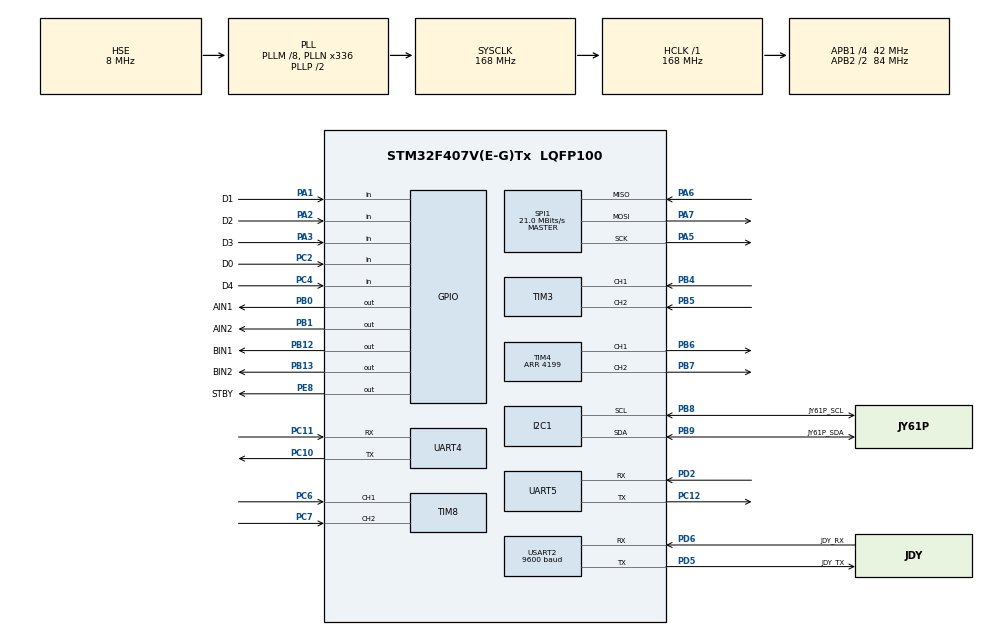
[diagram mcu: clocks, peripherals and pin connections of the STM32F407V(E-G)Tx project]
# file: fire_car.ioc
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FREERTOS.Tasks01=defaultTask,24,256,StartDefaultTask,Default,NULL,Dynamic,NULL,NULL
FREERTOS.configENABLE_FPU=1
FREERTOS.configMINIMAL_STACK_SIZE=256
Mcu.Family=STM32F4
Mcu.Name=STM32F407V(E-G)Tx
Mcu.Package=LQFP100
NVIC.PriorityGroup=NVIC_PRIORITYGROUP_4
NVIC.TIM6_DAC_IRQn=true\:15\:0\:false\:false\:true\:false\:false\:true\:true
NVIC.TimeBase=TIM6_DAC_IRQn
NVIC.TimeBaseIP=TIM6
NVIC.USART2_IRQn=true\:5\:0\:false\:false\:true\:true\:true\:true\:true
PA1.GPIO_Label=D1
PA1.GPIO_PuPd=GPIO_PULLDOWN
PA1.Signal=GPIO_Input
PA13.Mode=Serial_Wire
PA13.Signal=SYS_JTMS-SWDIO
PA14.Mode=Serial_Wire
PA14.Signal=SYS_JTCK-SWCLK
PA2.GPIO_Label=D2
PA2.GPIO_PuPd=GPIO_PULLDOWN
PA2.Signal=GPIO_Input
PA3.GPIO_Label=D3
PA3.GPIO_PuPd=GPIO_PULLDOWN
PA3.Signal=GPIO_Input
PA4.Signal=SPI1_NSS
PA5.Mode=Full_Duplex_Master
PA5.Signal=SPI1_SCK
PA6.Mode=Full_Duplex_Master
PA6.Signal=SPI1_MISO
PA7.Mode=Full_Duplex_Master
PA7.Signal=SPI1_MOSI
PB0.GPIO_Label=AIN1
PB0.Signal=GPIO_Output
PB1.GPIO_Label=AIN2
PB1.Signal=GPIO_Output
PB12.GPIO_Label=BIN1
PB12.Signal=GPIO_Output
PB13.GPIO_Label=BIN2
PB13.Signal=GPIO_Output
PB4.Signal=S_TIM3_CH1
PB5.Signal=S_TIM3_CH2
PB6.Signal=S_TIM4_CH1
PB7.Signal=S_TIM4_CH2
PB8.GPIO_Label=JY61P_SCL
PB8.Mode=I2C
PB8.Signal=I2C1_SCL
PB9.GPIO_Label=JY61P_SDA
PB9.Mode=I2C
PB9.Signal=I2C1_SDA
PC10.Mode=Asynchronous
PC10.Signal=UART4_TX
PC11.Mode=Asynchronous
PC11.Signal=UART4_RX
PC12.Mode=Asynchronous
PC12.Signal=UART5_TX
PC2.GPIO_Label=D0
PC2.GPIO_PuPd=GPIO_PULLDOWN
PC2.Signal=GPIO_Input
PC4.GPIO_Label=D4
PC4.GPIO_PuPd=GPIO_PULLDOWN
PC4.Signal=GPIO_Input
PC6.Signal=S_TIM8_CH1
PC7.Signal=S_TIM8_CH2
PD2.Mode=Asynchronous
PD2.Signal=UART5_RX
PD5.GPIO_Label=JDY_TX
PD5.Mode=Asynchronous
PD5.Signal=USART2_TX
PD6.GPIO_Label=JDY_RX
PD6.Mode=Asynchronous
PD6.Signal=USART2_RX
PE8.GPIO_Label=STBY
PE8.Signal=GPIO_Output
PH0-OSC_IN.Mode=HSE-External-Oscillator
PH0-OSC_IN.Signal=RCC_OSC_IN
PH1-OSC_OUT.Mode=HSE-External-Oscillator
PH1-OSC_OUT.Signal=RCC_OSC_OUT
ProjectManager.HeapSize=0x200
ProjectManager.StackSize=0x400
ProjectManager.TargetToolchain=MDK-ARM V5.32
RCC.48MHZClocksFreq_Value=84000000
RCC.AHBFreq_Value=168000000
RCC.APB1CLKDivider=RCC_HCLK_DIV4
RCC.APB1Freq_Value=42000000
RCC.APB1TimFreq_Value=84000000
RCC.APB2CLKDivider=RCC_HCLK_DIV2
RCC.APB2Freq_Value=84000000
RCC.APB2TimFreq_Value=168000000
RCC.CortexFreq_Value=168000000
RCC.HCLKFreq_Value=168000000
RCC.HSE_VALUE=8000000
RCC.HSI_VALUE=16000000
RCC.LSE_VALUE=32768
RCC.PLLM=8
RCC.PLLN=336
RCC.PLLSourceVirtual=RCC_PLLSOURCE_HSE
RCC.SYSCLKFreq_VALUE=168000000
RCC.SYSCLKSource=RCC_SYSCLKSOURCE_PLLCLK
RCC.VCOOutputFreq_Value=336000000
SH.S_TIM3_CH1.0=TIM3_CH1,Encoder_Interface
SH.S_TIM3_CH2.0=TIM3_CH2,Encoder_Interface
SH.S_TIM4_CH1.0=TIM4_CH1,PWM Generation1 CH1
SH.S_TIM4_CH2.0=TIM4_CH2,PWM Generation2 CH2
SH.S_TIM8_CH1.0=TIM8_CH1,Encoder_Interface
SH.S_TIM8_CH2.0=TIM8_CH2,Encoder_Interface
SPI1.BaudRatePrescaler=SPI_BAUDRATEPRESCALER_4
SPI1.CalculateBaudRate=21.0 MBits/s
SPI1.Direction=SPI_DIRECTION_2LINES
SPI1.Mode=SPI_MODE_MASTER
SPI1.VirtualType=VM_MASTER
TIM10.Period=19
TIM10.Prescaler=16799
TIM3.EncoderMode=TIM_ENCODERMODE_TI12
TIM3.IC1Filter=6
TIM3.IC2Filter=6
TIM4.AutoReloadPreload=TIM_AUTORELOAD_PRELOAD_ENABLE
TIM4.Channel-PWM\ Generation1\ CH1=TIM_CHANNEL_1
TIM4.Channel-PWM\ Generation2\ CH2=TIM_CHANNEL_2
TIM4.Period=4199
TIM8.EncoderMode=TIM_ENCODERMODE_TI12
TIM8.IC1Filter=6
TIM8.IC2Filter=6
UART4.VirtualMode=Asynchronous
UART5.VirtualMode=Asynchronous
USART2.BaudRate=9600
USART2.VirtualMode=VM_ASYNC
VP_FREERTOS_VS_CMSIS_V2.Mode=CMSIS_V2
VP_SYS_VS_tim6.Mode=TIM6
VP_TIM10_VS_ClockSourceINT.Mode=Enable_Timer
VP_TIM4_VS_ClockSourceINT.Mode=Internal
board=custom

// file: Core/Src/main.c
/* USER CODE BEGIN Header */
/**
  ******************************************************************************
  * @file           : main.c
  * @brief          : Main program body
  ******************************************************************************
  * @attention
  *
  * Copyright (c) 2026 STMicroelectronics.
  * All rights reserved.
  *
  * This software is licensed under terms that can be found in the LICENSE file
  * in the root directory of this software component.
  * If no LICENSE file comes with this software, it is provided AS-IS.
  *
  ******************************************************************************
  */
/* USER CODE END Header */
#include "main.h"
#include "cmsis_os.h"
#include "i2c.h"
#include "spi.h"
#include "tim.h"
#include "usart.h"
#include "gpio.h"

/* USER CODE BEGIN Includes */
#include "../../hardware/BLE.h"
#include "../../hardware/ESP01S.h"
#include "../../hardware/LU9685.h"
#include "../../hardware/motor.h"
#include "../../hardware/NVIC.h"

/* USER CODE END Includes */

/* USER CODE BEGIN PV */
volatile float g_left_motor_speed_mps = 0.0f;
volatile float g_right_motor_speed_mps = 0.0f;

/* USER CODE END PV */

void SystemClock_Config(void);
void MX_FREERTOS_Init(void);

int main(void)
{

  /* MCU Configuration--------------------------------------------------------*/

  /* Reset of all peripherals, Initializes the Flash interface and the Systick. */
  HAL_Init();

  /* Configure the system clock */
  SystemClock_Config();

  /* Initialize all configured peripherals */
  MX_GPIO_Init();
  MX_TIM3_Init();
  MX_TIM4_Init();
  MX_USART2_UART_Init();
  MX_TIM10_Init();
  MX_TIM8_Init();
  MX_I2C1_Init();
  MX_SPI1_Init();
  MX_UART4_Init();
  MX_UART5_Init();
  /* USER CODE BEGIN 2 */
  Hardware_NVIC_InitPeripheralIRQs();
  Motor_Init();
  BLE_Init();
  ESP01S_Init();
  LU9685_Init();

  /* USER CODE END 2 */

  /* Init scheduler */
  osKernelInitialize();  /* Call init function for freertos objects (in cmsis_os2.c) */
  MX_FREERTOS_Init();

  /* Start scheduler */
  osKernelStart();

  /* We should never get here as control is now taken by the scheduler */

  /* Infinite loop */
  while (1)
  {

  }
}

void SystemClock_Config(void)
{
  RCC_OscInitTypeDef RCC_OscInitStruct = {0};
  RCC_ClkInitTypeDef RCC_ClkInitStruct = {0};

  /** Configure the main internal regulator output voltage
  */
  __HAL_RCC_PWR_CLK_ENABLE();
  __HAL_PWR_VOLTAGESCALING_CONFIG(PWR_REGULATOR_VOLTAGE_SCALE1);

  /** Initializes the RCC Oscillators according to the specified parameters
  * in the RCC_OscInitTypeDef structure.
  */
  RCC_OscInitStruct.OscillatorType = RCC_OSCILLATORTYPE_HSE;
  RCC_OscInitStruct.HSEState = RCC_HSE_ON;
  RCC_OscInitStruct.PLL.PLLState = RCC_PLL_ON;
  RCC_OscInitStruct.PLL.PLLSource = RCC_PLLSOURCE_HSE;
  RCC_OscInitStruct.PLL.PLLM = 8;
  RCC_OscInitStruct.PLL.PLLN = 336;
  RCC_OscInitStruct.PLL.PLLP = RCC_PLLP_DIV2;
  RCC_OscInitStruct.PLL.PLLQ = 4;
  if (HAL_RCC_OscConfig(&RCC_OscInitStruct) != HAL_OK)
  {
    Error_Handler();
  }

  /** Initializes the CPU, AHB and APB buses clocks
  */
  RCC_ClkInitStruct.ClockType = RCC_CLOCKTYPE_HCLK|RCC_CLOCKTYPE_SYSCLK
                              |RCC_CLOCKTYPE_PCLK1|RCC_CLOCKTYPE_PCLK2;
  RCC_ClkInitStruct.SYSCLKSource = RCC_SYSCLKSOURCE_PLLCLK;
  RCC_ClkInitStruct.AHBCLKDivider = RCC_SYSCLK_DIV1;
  RCC_ClkInitStruct.APB1CLKDivider = RCC_HCLK_DIV4;
  RCC_ClkInitStruct.APB2CLKDivider = RCC_HCLK_DIV2;

  if (HAL_RCC_ClockConfig(&RCC_ClkInitStruct, FLASH_LATENCY_5) != HAL_OK)
  {
    Error_Handler();
  }
}

void Error_Handler(void)
{
  __disable_irq();
  while (1)
  {
  }
}

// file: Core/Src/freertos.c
/* USER CODE BEGIN Header */
/**
  ******************************************************************************
  * File Name          : freertos.c
  * Description        : Code for freertos applications
  ******************************************************************************
  * @attention
  *
  * Copyright (c) 2026 STMicroelectronics.
  * All rights reserved.
  *
  * This software is licensed under terms that can be found in the LICENSE file
  * in the root directory of this software component.
  * If no LICENSE file comes with this software, it is provided AS-IS.
  *
  ******************************************************************************
  */
/* USER CODE END Header */

#include "FreeRTOS.h"
#include "task.h"
#include "main.h"
#include "cmsis_os.h"

/* USER CODE BEGIN Includes */
#include "../../hardware/BLE.h"
#include "../../hardware/ESP01S.h"
#include "../../hardware/JY61P.h"
#include "../../hardware/MQTT_Command.h"
#include "../../hardware/motor.h"

/* USER CODE END Includes */

/* Definitions for defaultTask */
osThreadId_t defaultTaskHandle;
const osThreadAttr_t defaultTask_attributes = {
  .name = "defaultTask",
  .stack_size = 256 * 4,
  .priority = (osPriority_t) osPriorityNormal,
};

void StartDefaultTask(void *argument);

void MX_FREERTOS_Init(void); /* (MISRA C 2004 rule 8.1) */

void MX_FREERTOS_Init(void) {

  /* Create the thread(s) */
  /* creation of defaultTask */
  defaultTaskHandle = osThreadNew(StartDefaultTask, NULL, &defaultTask_attributes);

  /* USER CODE BEGIN RTOS_THREADS */
  /* add threads, ... */
  JY61P_StartTask();
  Motor_StartHeadingTask();
  BLE_StartTask();
  ESP01S_StartTask();
  MQTT_Command_StartTask();
  /* USER CODE END RTOS_THREADS */

}

void StartDefaultTask(void *argument)
{
  for(;;)
  {
    osDelay(1);
  }
}
